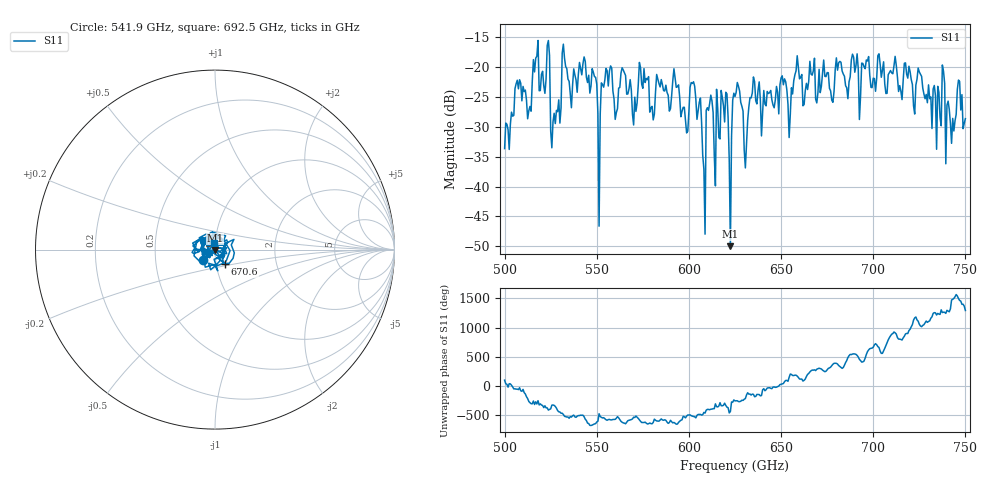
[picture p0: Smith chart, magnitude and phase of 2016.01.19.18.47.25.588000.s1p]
!Created with skrf (http://scikit-rf.org).
# GHz S RI R 50.0
!freq ReS11 ImS11
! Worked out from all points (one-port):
!   401 points, 500 GHz to 750 GHz, reference 50 ohm
!   lowest |S11| = -50.0 dB at 622.5 GHz (marker M1), VSWR 1.01, Z = 50.1 - j0.307 ohm
!   |S11| at or under -10 dB: start of sweep to end of sweep
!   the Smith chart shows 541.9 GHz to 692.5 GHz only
!   S11 on the Smith chart (normalised r, x): 541.9 GHz: 0.87, -0.10; 670.6 GHz: 1.10, -0.18; 692.5 GHz: 0.99, +0.07
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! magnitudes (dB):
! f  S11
! 500 GHz  -33.6
! 506.9 GHz  -22.2
! 513.1 GHz  -27.3
! 516.9 GHz  -18.5
! 523.1 GHz  -16.3
! 526.2 GHz  -29.2
! 531.2 GHz  -17.6
! 541.9 GHz  -21.3
! 548.8 GHz  -21.6
! 551.2 GHz  -46.6
! 554.4 GHz  -22.2
! 562.5 GHz  -23.4
! 593.8 GHz  -23.3
! 598.8 GHz  -31.0
! 602.5 GHz  -22.4
! 608.1 GHz  -37.1
! 610.6 GHz  -27.2
! 619.4 GHz  -29.2
! 622.5 GHz  -50.0
! 625 GHz  -24.9
! 630.6 GHz  -36.9
! 634.4 GHz  -24.3
! 656.2 GHz  -24.5
! 670.6 GHz  -20.4
! 687.5 GHz  -21.6
! 692.5 GHz  -28.8
! 718.8 GHz  -21.8
! 750 GHz  -28.6
